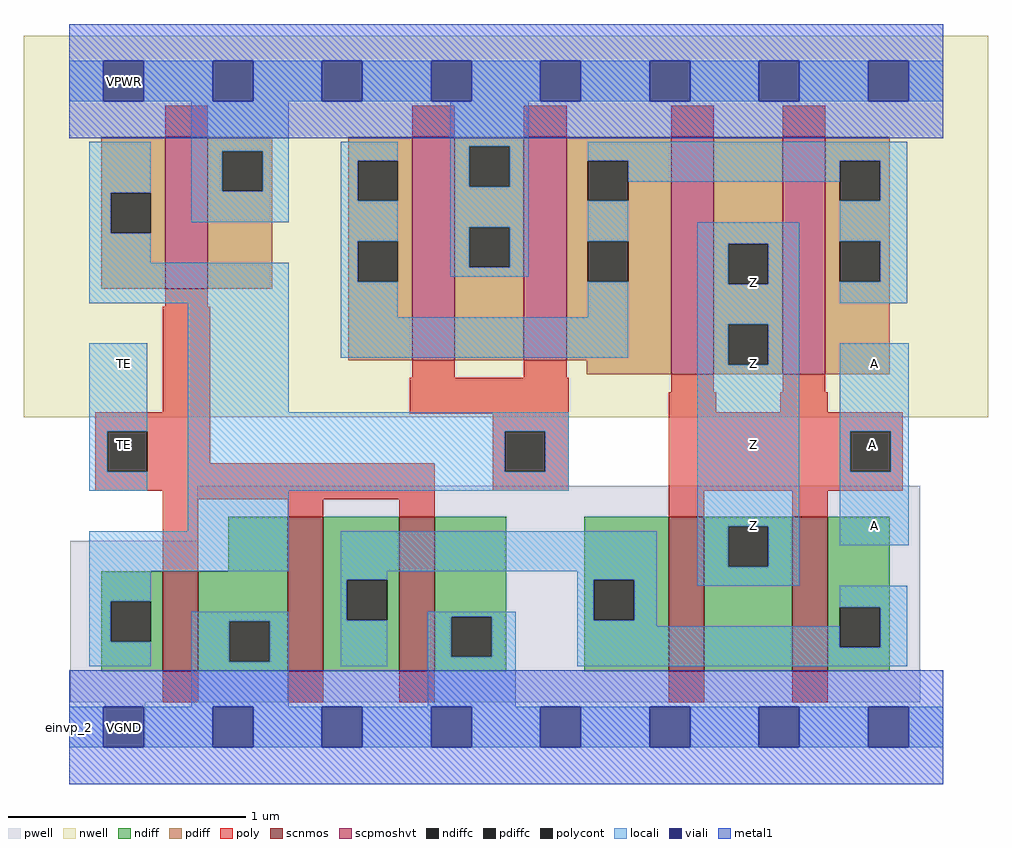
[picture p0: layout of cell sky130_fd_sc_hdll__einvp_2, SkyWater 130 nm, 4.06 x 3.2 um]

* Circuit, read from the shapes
.subckt sky130_fd_sc_hdll__einvp_2 A TE VGND VNB VPB VPWR Z
XM1 VGND TE n1 VNB sky130_fd_pr__nfet_01v8 w=0.42 l=0.15
XM2 n2 TE VGND VNB sky130_fd_pr__nfet_01v8 w=0.65 l=0.15 m=2
XM3 Z A n2 VNB sky130_fd_pr__nfet_01v8 w=0.65 l=0.15 m=2
XM4 VPWR TE n1 VPB sky130_fd_pr__pfet_01v8_hvt w=0.64 l=0.18
XM5 VPWR n1 n3 VPB sky130_fd_pr__pfet_01v8_hvt w=0.94 l=0.18 m=2
XM6 Z A n3 VPB sky130_fd_pr__pfet_01v8_hvt w=1 l=0.18 m=2
.ends

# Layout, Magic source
magic
tech sky130A
magscale 1 2
<< nwell >>
rect -38 261 774 582
<< pwell >>
rect 108 157 717 203
rect 1 21 717 157
rect 30 -17 64 21
<< scnmos >>
rect 79 47 109 131
rect 184 47 214 177
rect 278 47 308 177
rect 505 47 535 177
rect 609 47 639 177
<< scpmoshvt >>
rect 81 369 117 497
rect 289 309 325 497
rect 383 309 419 497
rect 507 297 543 497
rect 601 297 637 497
<< ndiff >>
rect 134 131 184 177
rect 27 106 79 131
rect 27 72 35 106
rect 69 72 79 106
rect 27 47 79 72
rect 109 89 184 131
rect 109 55 135 89
rect 169 55 184 89
rect 109 47 184 55
rect 214 124 278 177
rect 214 90 234 124
rect 268 90 278 124
rect 214 47 278 90
rect 308 93 368 177
rect 308 59 322 93
rect 356 59 368 93
rect 308 47 368 59
rect 434 124 505 177
rect 434 90 442 124
rect 476 90 505 124
rect 434 47 505 90
rect 535 169 609 177
rect 535 135 555 169
rect 589 135 609 169
rect 535 47 609 135
rect 639 101 691 177
rect 639 67 649 101
rect 683 67 691 101
rect 639 47 691 67
<< pdiff >>
rect 27 450 81 497
rect 27 416 35 450
rect 69 416 81 450
rect 27 369 81 416
rect 117 485 171 497
rect 117 451 129 485
rect 163 451 171 485
rect 117 369 171 451
rect 235 477 289 497
rect 235 443 243 477
rect 277 443 289 477
rect 235 409 289 443
rect 235 375 243 409
rect 277 375 289 409
rect 235 309 289 375
rect 325 489 383 497
rect 325 455 337 489
rect 371 455 383 489
rect 325 421 383 455
rect 325 387 337 421
rect 371 387 383 421
rect 325 309 383 387
rect 419 477 507 497
rect 419 443 437 477
rect 471 443 507 477
rect 419 409 507 443
rect 419 375 437 409
rect 471 375 507 409
rect 419 309 507 375
rect 436 297 507 309
rect 543 407 601 497
rect 543 373 555 407
rect 589 373 601 407
rect 543 339 601 373
rect 543 305 555 339
rect 589 305 601 339
rect 543 297 601 305
rect 637 477 691 497
rect 637 443 649 477
rect 683 443 691 477
rect 637 409 691 443
rect 637 375 649 409
rect 683 375 691 409
rect 637 297 691 375
<< ndiffc >>
rect 35 72 69 106
rect 135 55 169 89
rect 234 90 268 124
rect 322 59 356 93
rect 442 90 476 124
rect 555 135 589 169
rect 649 67 683 101
<< pdiffc >>
rect 35 416 69 450
rect 129 451 163 485
rect 243 443 277 477
rect 243 375 277 409
rect 337 455 371 489
rect 337 387 371 421
rect 437 443 471 477
rect 437 375 471 409
rect 555 373 589 407
rect 555 305 589 339
rect 649 443 683 477
rect 649 375 683 409
<< poly >>
rect 81 497 117 523
rect 289 497 325 523
rect 383 497 419 523
rect 507 497 543 523
rect 601 497 637 523
rect 81 354 117 369
rect 79 265 119 354
rect 289 294 325 309
rect 383 294 419 309
rect 22 249 119 265
rect 287 264 421 294
rect 507 282 543 297
rect 601 282 637 297
rect 22 215 32 249
rect 66 222 119 249
rect 357 249 421 264
rect 66 215 308 222
rect 22 199 308 215
rect 357 215 367 249
rect 401 215 421 249
rect 357 199 421 215
rect 505 265 545 282
rect 599 265 639 282
rect 505 249 702 265
rect 505 215 658 249
rect 692 215 702 249
rect 505 199 702 215
rect 79 192 308 199
rect 79 131 109 192
rect 184 177 214 192
rect 278 177 308 192
rect 505 177 535 199
rect 609 177 639 199
rect 79 21 109 47
rect 184 21 214 47
rect 278 21 308 47
rect 505 21 535 47
rect 609 21 639 47
<< polycont >>
rect 32 215 66 249
rect 367 215 401 249
rect 658 215 692 249
<< locali >>
rect 0 527 29 561
rect 63 527 121 561
rect 155 527 213 561
rect 247 527 305 561
rect 339 527 397 561
rect 431 527 489 561
rect 523 527 581 561
rect 615 527 673 561
rect 707 527 736 561
rect 17 450 69 493
rect 17 416 35 450
rect 103 485 185 527
rect 103 451 129 485
rect 163 451 185 485
rect 103 425 185 451
rect 229 477 277 493
rect 229 443 243 477
rect 17 391 69 416
rect 229 409 277 443
rect 17 357 185 391
rect 17 249 66 323
rect 17 215 32 249
rect 17 199 66 215
rect 100 265 185 357
rect 229 375 243 409
rect 321 489 387 527
rect 321 455 337 489
rect 371 455 387 489
rect 321 421 387 455
rect 321 387 337 421
rect 371 387 387 421
rect 321 379 387 387
rect 437 477 706 493
rect 471 459 649 477
rect 437 409 471 443
rect 683 443 706 477
rect 229 345 277 375
rect 437 345 471 375
rect 229 311 471 345
rect 529 407 615 425
rect 529 373 555 407
rect 589 373 615 407
rect 529 339 615 373
rect 649 409 706 443
rect 683 375 706 409
rect 649 357 706 375
rect 529 305 555 339
rect 589 305 615 339
rect 100 249 421 265
rect 100 215 367 249
rect 401 215 421 249
rect 100 199 421 215
rect 100 165 185 199
rect 529 169 615 305
rect 17 131 185 165
rect 229 131 495 165
rect 17 106 69 131
rect 17 72 35 106
rect 229 124 268 131
rect 17 51 69 72
rect 103 89 185 97
rect 103 55 135 89
rect 169 55 185 89
rect 103 17 185 55
rect 229 90 234 124
rect 428 124 495 131
rect 229 51 268 90
rect 302 93 376 97
rect 302 59 322 93
rect 356 59 376 93
rect 302 17 376 59
rect 428 90 442 124
rect 476 90 495 124
rect 529 135 555 169
rect 589 135 615 169
rect 649 249 707 323
rect 649 215 658 249
rect 692 215 707 249
rect 649 153 707 215
rect 529 119 615 135
rect 428 85 495 90
rect 649 101 706 119
rect 428 67 649 85
rect 683 67 706 101
rect 428 51 706 67
rect 0 -17 29 17
rect 63 -17 121 17
rect 155 -17 213 17
rect 247 -17 305 17
rect 339 -17 397 17
rect 431 -17 489 17
rect 523 -17 581 17
rect 615 -17 673 17
rect 707 -17 736 17
<< viali >>
rect 29 527 63 561
rect 121 527 155 561
rect 213 527 247 561
rect 305 527 339 561
rect 397 527 431 561
rect 489 527 523 561
rect 581 527 615 561
rect 673 527 707 561
rect 29 -17 63 17
rect 121 -17 155 17
rect 213 -17 247 17
rect 305 -17 339 17
rect 397 -17 431 17
rect 489 -17 523 17
rect 581 -17 615 17
rect 673 -17 707 17
<< metal1 >>
rect 0 561 736 592
rect 0 527 29 561
rect 63 527 121 561
rect 155 527 213 561
rect 247 527 305 561
rect 339 527 397 561
rect 431 527 489 561
rect 523 527 581 561
rect 615 527 673 561
rect 707 527 736 561
rect 0 496 736 527
rect 0 17 736 48
rect 0 -17 29 17
rect 63 -17 121 17
rect 155 -17 213 17
rect 247 -17 305 17
rect 339 -17 397 17
rect 431 -17 489 17
rect 523 -17 581 17
rect 615 -17 673 17
rect 707 -17 736 17
rect 0 -48 736 -17
<< labels >>
flabel locali s 661 153 695 187 0 FreeSans 200 0 0 0 A
port 1 nsew signal input
flabel locali s 661 289 695 323 0 FreeSans 200 0 0 0 A
port 1 nsew signal input
flabel locali s 660 221 694 255 0 FreeSans 200 0 0 0 A
port 1 nsew signal input
flabel locali s 559 153 593 187 0 FreeSans 200 0 0 0 Z
port 7 nsew signal output
flabel locali s 559 221 593 255 0 FreeSans 200 0 0 0 Z
port 7 nsew signal output
flabel locali s 559 289 593 323 0 FreeSans 200 0 0 0 Z
port 7 nsew signal output
flabel locali s 559 357 593 391 0 FreeSans 200 0 0 0 Z
port 7 nsew signal output
flabel locali s 30 221 64 255 0 FreeSans 200 0 0 0 TE
port 2 nsew signal input
flabel locali s 30 289 64 323 0 FreeSans 200 0 0 0 TE
port 2 nsew signal input
flabel metal1 s 30 -17 64 17 0 FreeSans 200 0 0 0 VGND
port 3 nsew ground bidirectional
flabel metal1 s 30 527 64 561 0 FreeSans 200 0 0 0 VPWR
port 6 nsew power bidirectional
flabel nwell s 30 527 64 561 0 FreeSans 200 0 0 0 VPB
port 5 nsew power bidirectional
flabel pwell s 30 -17 64 17 0 FreeSans 200 0 0 0 VNB
port 4 nsew ground bidirectional
rlabel comment s 0 0 0 0 4 einvp_2
<< properties >>
string LEFsite unithd
string LEFclass CORE
string FIXED_BBOX 0 0 736 544
string GDS_FILE $PDKPATH/libs.ref/sky130_fd_sc_hdll/gds/sky130_fd_sc_hdll.gds
string LEFsymmetry X Y R90
string GDS_END 2071350
string GDS_START 2064890
string LEFproperties maskLayoutSubType "abstract" prCellType "standard" originalViewName "layout"
<< end >>
